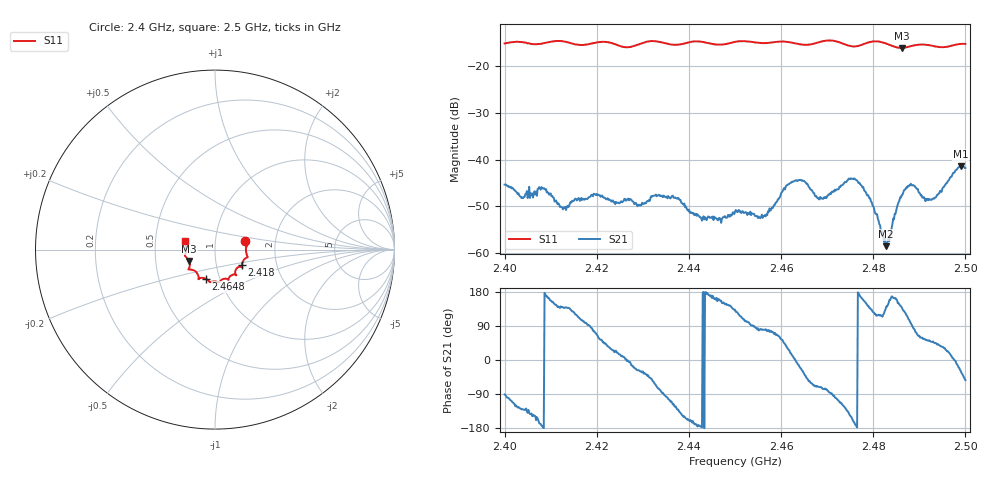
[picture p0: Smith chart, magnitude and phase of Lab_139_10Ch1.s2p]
# Hz S RI R 50
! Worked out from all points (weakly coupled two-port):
!   601 points, 2.4 GHz to 2.5 GHz, reference 50 ohm
!   highest |S21| = -41.41 dB at 2.499 GHz (marker M1); lowest = -58.5 dB at 2.4828 GHz (marker M2)
!   lowest |S11| = -16.1 dB at 2.4862 GHz (marker M3), VSWR 1.37, Z = 37.1 - j4.8 ohm
!   |S11| at or under -10 dB: start of sweep to end of sweep
!   S12 and S22 are empty: the file has one direction only
!   S11 on the Smith chart (normalised r, x): 2.4 GHz: 1.40, +0.13; 2.418 GHz: 1.33, -0.23; 2.4648 GHz: 0.86, -0.29; 2.5 GHz: 0.71, +0.07
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2.4e9  0.1693 0.046  -9.85e-05 -0.00542  0 0  0 0
2.403833e9  0.1794 0.0287  -0.00252 -0.00304  0 0  0 0
2.4085e9  0.1753 -0.0218  -0.00498 -3.69e-05  0 0  0 0
2.412833e9  0.1798 -0.0435  -0.00224 0.00206  0 0  0 0
2.416667e9  0.1547 -0.0679  -0.00102 0.00377  0 0  0 0
2.418e9  0.15 -0.0835  -0.00018 0.00381  0 0  0 0
2.433333e9  0.1175 -0.1411  0.00107 -0.00402  0 0  0 0
2.442833e9  0.0732 -0.1676  -0.00223 -8.05e-05  0 0  0 0
2.45e9  0.0251 -0.1807  -0.00187 0.00205  0 0  0 0
2.4565e9  -0.00503 -0.1771  0.000472 0.00252  0 0  0 0
2.4615e9  -0.0309 -0.1791  0.00477 0.00262  0 0  0 0
2.464833e9  -0.0507 -0.1625  0.005 -0.0032  0 0  0 0
2.466667e9  -0.0714 -0.1572  0.00225 -0.00417  0 0  0 0
2.469333e9  -0.0908 -0.1633  0.000898 -0.00387  0 0  0 0
2.476167e9  -0.112 -0.119  -0.00605 -0.000869  0 0  0 0
2.482833e9  -0.143 -0.1011  -0.000928 0.000744  0 0  0 0
2.483333e9  -0.1415 -0.0963  -0.0012 0.000693  0 0  0 0
2.486167e9  -0.1441 -0.063  -0.00317 0.00271  0 0  0 0
2.488333e9  -0.1592 -0.0443  -0.000264 0.00535  0 0  0 0
2.493e9  -0.1638 -0.0199  0.00252 0.0029  0 0  0 0
2.499e9  -0.1684 0.0423  0.00739 -0.00419  0 0  0 0
2.5e9  -0.1673 0.0471  0.00491 -0.00655  0 0  0 0
